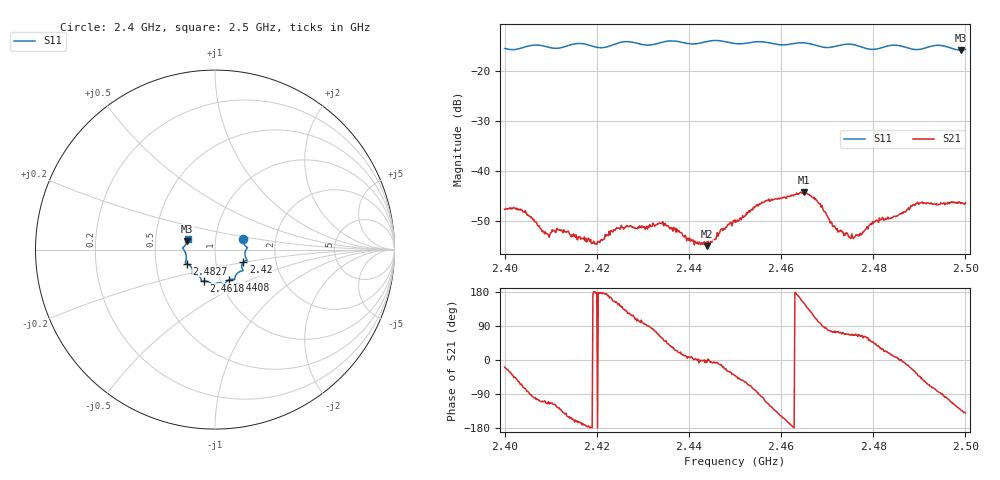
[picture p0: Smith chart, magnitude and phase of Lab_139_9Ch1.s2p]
# Hz S RI R 50
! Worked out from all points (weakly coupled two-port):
!   601 points, 2.4 GHz to 2.5 GHz, reference 50 ohm
!   highest |S21| = -44.22 dB at 2.465 GHz (marker M1); lowest = -55.0 dB at 2.444 GHz (marker M2)
!   lowest |S11| = -15.8 dB at 2.499 GHz (marker M3), VSWR 1.39, Z = 36.5 + j3.53 ohm
!   |S11| at or under -10 dB: start of sweep to end of sweep
!   S12 and S22 are empty: the file has one direction only
!   S11 on the Smith chart (normalised r, x): 2.4 GHz: 1.36, +0.17; 2.42 GHz: 1.36, -0.19; 2.4408 GHz: 1.10, -0.39; 2.4618 GHz: 0.84, -0.30; 2.4827 GHz: 0.72, -0.12; 2.5 GHz: 0.73, +0.09
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2.4e9  0.1561 0.0618  0.00391 -0.00134  0 0  0 0
2.404e9  0.1704 0.0189  0.00118 -0.0037  0 0  0 0
2.409167e9  0.174 0.00141  -0.000967 -0.00216  0 0  0 0
2.411833e9  0.167 -0.0278  -0.00151 -0.00206  0 0  0 0
2.416667e9  0.1781 -0.0595  -0.00204 -0.000525  0 0  0 0
2.42e9  0.1579 -0.0692  -0.00185 8.1e-05  0 0  0 0
2.424833e9  0.1547 -0.1131  -0.0023 0.0014  0 0  0 0
2.433333e9  0.112 -0.152  0.00116 0.00271  0 0  0 0
2.440833e9  0.0788 -0.1688  0.00198 0.000135  0 0  0 0
2.444e9  0.0559 -0.1891  0.00177 -9.89e-05  0 0  0 0
2.45e9  0.0277 -0.1858  0.00245 -0.00212  0 0  0 0
2.456333e9  -0.0155 -0.1944  -0.00119 -0.00474  0 0  0 0
2.461833e9  -0.0604 -0.1751  -0.00543 -0.00108  0 0  0 0
2.465e9  -0.0751 -0.1754  -0.00527 0.00318  0 0  0 0
2.466667e9  -0.0769 -0.1685  -0.00307 0.00458  0 0  0 0
2.471833e9  -0.1131 -0.1353  0.000832 0.00256  0 0  0 0
2.475167e9  -0.1271 -0.1342  0.000844 0.00194  0 0  0 0
2.482667e9  -0.1571 -0.0778  0.00306 0.00137  0 0  0 0
2.483333e9  -0.1614 -0.0763  0.00316 0.00101  0 0  0 0
2.490167e9  -0.1634 -0.0203  0.00348 -0.00329  0 0  0 0
2.499e9  -0.1545 0.0471  -0.00314 -0.00352  0 0  0 0
2.5e9  -0.1518 0.0616  -0.00363 -0.00314  0 0  0 0
